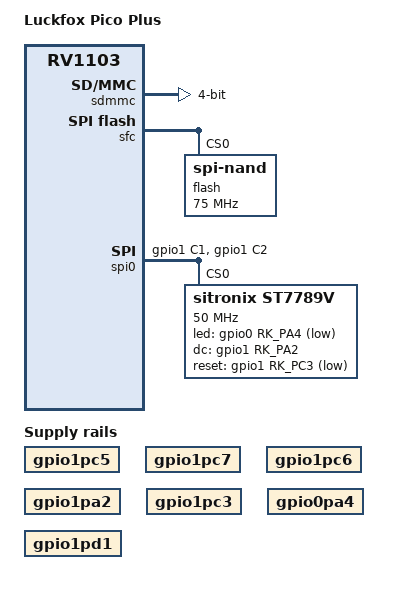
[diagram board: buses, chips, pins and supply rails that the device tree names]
// SPDX-License-Identifier: (GPL-2.0+ OR MIT)
/*
 * Copyright (c) 2022 Rockchip Electronics Co., Ltd.
 */

/dts-v1/;

#include "rv1103.dtsi"
#include "rv1106-evb.dtsi"
#include "rv1103-luckfox-pico-plus-ipc.dtsi"

/ {
	model = "Luckfox Pico Plus";
	compatible = "rockchip,rv1103g-38x38-ipc-v10", "rockchip,rv1103";


	
	/*ESP32_RST*/
	gpio1pc5:gpio1pc5 {
	  compatible = "regulator-fixed";
	  pinctrl-names = "default";
	  pinctrl-0 = <&gpio1_pc5>;
	  regulator-name = "gpio1_pc5";
	  regulator-always-on; 
	};

	/*UP*/
	gpio1pc7:gpio1pc7 {
	  compatible = "regulator-fixed";
	  pinctrl-names = "default";
	  pinctrl-0 = <&gpio1_pc7>;
	  regulator-name = "gpio1_pc7";
	  regulator-always-on; 
	};
	/*CTRL*/
	gpio1pc6:gpio1pc6 {
	  compatible = "regulator-fixed";
	  pinctrl-names = "default";
	  pinctrl-0 = <&gpio1_pc6>;
	  regulator-name = "gpio1_pc6";
	  regulator-always-on; 
	};

	/*LCD_DC 32+2 = 34*/
	gpio1pa2:gpio1pa2 {
	  compatible = "regulator-fixed";
	  pinctrl-names = "default";
	  pinctrl-0 = <&gpio1_pa2>;
	  regulator-name = "gpio1_pa2";
	  regulator-always-on; 
	};

	/*LCD_RST*/
	gpio1pc3:gpio1pc3 {
	  compatible = "regulator-fixed";
	  pinctrl-names = "default";
	  pinctrl-0 = <&gpio1_pc3>;
	  regulator-name = "gpio1_pc3";
	  regulator-always-on; 
	};

	/*LCD_BL*/
	gpio0pa4:gpio0pa4 {
	  compatible = "regulator-fixed";
	  pinctrl-names = "default";
	  pinctrl-0 = <&gpio0_pa4>;
	  regulator-name = "gpio0_pa4";
	  regulator-always-on; 
	};

	/*KEY_A*/
	gpio1pd1:gpio1pd1 {
	  compatible = "regulator-fixed";
	  pinctrl-names = "default";
	  pinctrl-0 = <&gpio1_pd1>;
	  regulator-name = "gpio1_pd1";
	  regulator-always-on; 
	};
};


&pinctrl {

  gpio1-pc5 {
    gpio1_pc5:gpio1-pc5 {
        rockchip,pins = <1 RK_PC5 RK_FUNC_GPIO &pcfg_pull_none>;
    };
  };

  gpio1-pc6 {
    gpio1_pc6:gpio1-pc6 {
        rockchip,pins = <1 RK_PC6 RK_FUNC_GPIO &pcfg_pull_none>;
    };
  };
  
  gpio1-pc7 {
    gpio1_pc7:gpio1-pc7 {
        rockchip,pins = <1 RK_PC7 RK_FUNC_GPIO &pcfg_pull_none>;
    };
  };

  gpio1-pa2 {
    gpio1_pa2:gpio1_pa2 { 
        rockchip,pins = <1 RK_PA2 RK_FUNC_GPIO &pcfg_pull_none>;
    };
  };

  gpio1-pc3 {
    gpio1_pc3:gpio1_pc3 { 
        rockchip,pins = <1 RK_PC3 RK_FUNC_GPIO &pcfg_pull_none>;
    };
  };

  gpio0-pa4 {
    gpio0_pa4:gpio0_pa4 { 
        rockchip,pins = <0 RK_PA4 RK_FUNC_GPIO &pcfg_pull_none>;
    };
  };

  gpio1-pd1 {
    gpio1_pd1:gpio1_pd1 { 
        rockchip,pins = <1 RK_PD1 RK_FUNC_GPIO &pcfg_pull_none>;
    };
  };
	
};

/**********SDMMC**********/
&sdmmc {
	max-frequency = <50000000>;
	no-sdio;
	no-mmc;
	bus-width = <4>;
	cap-mmc-highspeed;
	cap-sd-highspeed;
	disable-wp;
	pinctrl-names = "default";
	pinctrl-0 = <&sdmmc0_clk &sdmmc0_cmd &sdmmc0_det &sdmmc0_bus4>;
	status = "okay";
};

/**********SFC**********/
&sfc {
	status = "okay";

	flash@0 {
		compatible = "spi-nand";
		reg = <0>;
		spi-max-frequency = <75000000>;
		spi-rx-bus-width = <4>;
		spi-tx-bus-width = <1>;
	};
};

/**********ETH**********/
&gmac {
	status = "disable";
};

/**********USB**********/
//&usbdrd {
//	status = "disabled";
//};

//&usbdrd_dwc3 {
//	status = "disabled";
//};

//&u2phy {
//	status = "disabled";
//};

//&u2phy_otg {
//	status = "disabled";
//};

/**********I2C**********/
// &i2c0 {
// 	status = "okay";
// 	pinctrl-0 = <&i2c0m2_xfer>;
// 	clock-frequency = <100000>;
// };
// &i2c3 {
// 	status = "okay";
// 	pinctrl-0 = <&i2c3m1_xfer>;
// 	clock-frequency = <100000>;
// };

/**********SPI**********/
&spi0 {
	status = "okay";
	pinctrl-names = "default";
	pinctrl-0 = <&spi0m0_cs0 &spi0m0_pins>;
	// cs-gpios = <&gpio1 RK_PC0 1>;
	// cs-gpios = <&gpio1 26 1>;
	// #address-cells = <1>;
	// #size-cells = <0>;
//	spidev@0 {
//		compatible = "rockchip,spidev";
//		spi-max-frequency = <1000000000>;
//		reg = <0>;
//	};

	
	st7789v@0{						
		status = "okay";
		compatible = "sitronix,st7789v"; 
		reg = <0>;			
		spi-max-frequency = <50000000>;			
		fps = <30>;
		buswidth = <8>;
		debug = <0x7>;
		led-gpios = <&gpio0 RK_PA4 GPIO_ACTIVE_LOW>;//BL
		dc = <&gpio1 RK_PA2 GPIO_ACTIVE_HIGH>;		//DC
		reset = <&gpio1 RK_PC3 GPIO_ACTIVE_LOW>;	//RES
	};
};



&pinctrl {
  spi0 {
      /omit-if-no-ref/
      spi0m0_pins: spi0m0-pins {
          rockchip,pins =
              /* spi0_clk_m0 */
              <1 RK_PC1 4 &pcfg_pull_none>,
              /* spie_miso_m0 */
              //<1 RK_PC3 6 &pcfg_pull_none>, 
              /* spi_mosi_m0 */
              <1 RK_PC2 6 &pcfg_pull_none>;  

      };
  };
};

/**********UART**********/
// &uart3 {
// 	status = "okay";
// 	pinctrl-names = "default";
// 	pinctrl-0 = <&uart3m1_xfer>;
// };
// &uart4 {
// 	status = "okay";
// 	pinctrl-names = "default";
// 	pinctrl-0 = <&uart4m1_xfer>;
// };
//&uart5 {
//	status = "okay";
//	pinctrl-names = "default";
//	pinctrl-0 = <&uart5m0_xfer>;
//};

/**********PWM**********/

// &pwm0 {
// 	status = "okay";
// 	pinctrl-names = "active";
// 	pinctrl-0 = <&pwm0m0_pins>;
// 	// pinctrl-0 = <&pwm0m1_pins>;
// };
// &pwm1 {
// 	status = "okay";
// 	pinctrl-names = "active";
// 	pinctrl-0 = <&pwm1m0_pins>;
// 	// pinctrl-0 = <&pwm1m1_pins>;
// };

//&pwm2 {
//	status = "okay";
//	pinctrl-names = "active";
//	pinctrl-0 = <&pwm2m2_pins>;
//};
//&pwm3 {
//	status = "okay";
//	pinctrl-names = "active";
//	pinctrl-0 = <&pwm3m2_pins>;
//};
//&pwm4 {
//	status = "okay";
//	pinctrl-names = "active";
//	pinctrl-0 = <&pwm4m2_pins>;
//};
//&pwm5 {
//	status = "okay";
//	pinctrl-names = "active";
//	pinctrl-0 = <&pwm5m2_pins>;
//};
//&pwm6 {
//	status = "okay";
//	pinctrl-names = "active";
//	pinctrl-0 = <&pwm6m2_pins>;
//};
//&pwm7 {
//	status = "okay";
//	pinctrl-names = "active";
//	pinctrl-0 = <&pwm7m2_pins>;
//};
//&pwm8 {
//	status = "okay";
//	pinctrl-names = "active";
//	// pinctrl-0 = <&pwm8m1_pins>;
//	pinctrl-0 = <&pwm8m0_pins>;
//};
//&pwm9 {
//	status = "okay";
//	pinctrl-names = "active";
//	// pinctrl-0 = <&pwm9m1_pins>;
//	pinctrl-0 = <&pwm9m0_pins>;
//};

// &pwm10 {
// 	status = "okay";
// 	pinctrl-names = "active";
// 	pinctrl-0 = <&pwm10m1_pins>;
// 	// pinctrl-0 = <&pwm10m2_pins>;
// 	// pinctrl-0 = <&pwm10m0_pins>;
// };
// &pwm11 {
// 	status = "okay";
// 	pinctrl-names = "active";
// 	pinctrl-0 = <&pwm11m1_pins>;
// 	// pinctrl-0 = <&pwm11m2_pins>;
// 	// pinctrl-0 = <&pwm11m0_pins>;
// };



